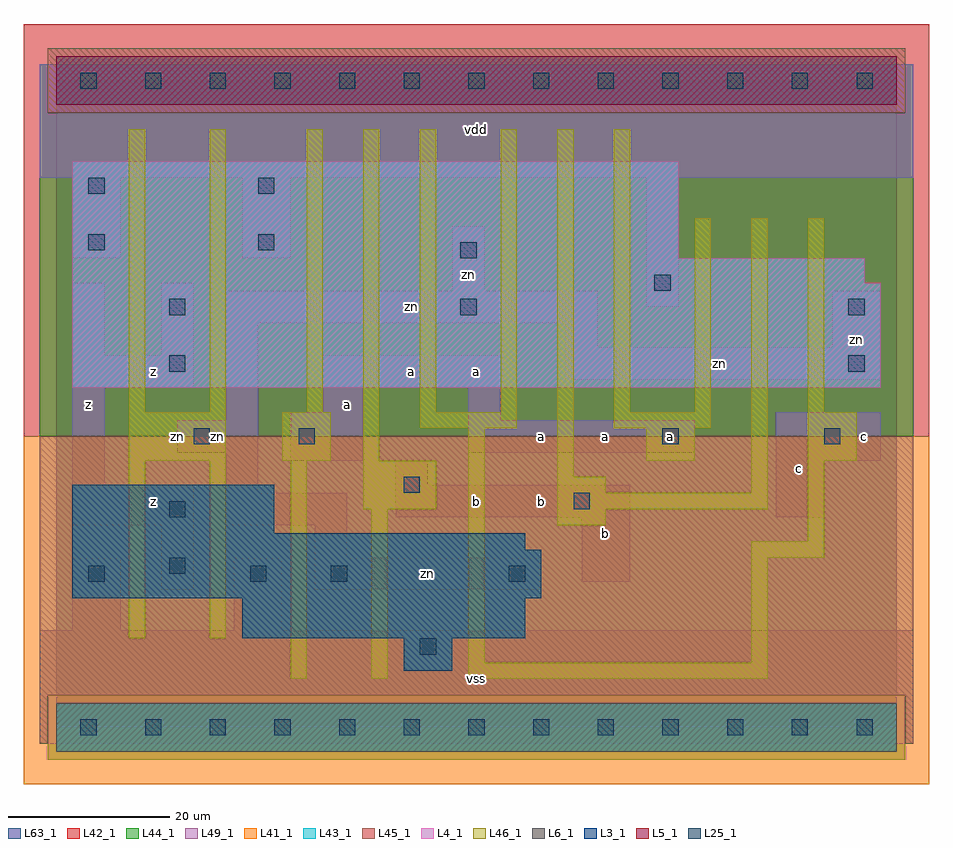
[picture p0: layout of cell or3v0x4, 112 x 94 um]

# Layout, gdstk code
import gdstk
lib = gdstk.Library(unit=1e-6, precision=1e-09)
def R(c, l, rs):  # rectangles x0, y0, x1, y1
    for r in rs: c.add(gdstk.rectangle(r[:2], r[2:], *l))
def A(c, l, x, y, w, h, nx, ny, dx, dy):  # array of equal rectangles
    R(c, l, [(x+i*dx, y+j*dy, x+i*dx+w, y+j*dy+h) for i in range(nx) for j in range(ny)])
L3_1 = (3, 1)
L4_1 = (4, 1)
L5_1 = (5, 1)
L6_1 = (6, 1)
L25_1 = (25, 1)
L41_1 = (41, 1)
L42_1 = (42, 1)
L43_1 = (43, 1)
L44_1 = (44, 1)
L45_1 = (45, 1)
L46_1 = (46, 1)
L49_1 = (49, 1)
L63_1 = (63, 1)

or3v0x4 = lib.new_cell('or3v0x4')
R(or3v0x4, L3_1, [(43,7,49,11), (23,11,58,16), (2,16,60,22), (2,22,58,24), (2,24,27,30)])
R(or3v0x4, L4_1, [(2,42,102,55), (2,55,100,58), (2,58,77,70)])
R(or3v0x4, L5_1, [(0,77,104,83)])
R(or3v0x4, L6_1, [(0,-3,104,3), (0,-3,104,3)])
A(or3v0x4, L25_1, 3, -1, 2, 2, 13, 2, 8, 80)
R(or3v0x4, L25_1, [(45,9,47,11), (4,18,6,20), (24,18,26,20), (34,18,36,20), (56,18,58,20), (14,19,16,21), (14,26,16,28), (64,27,66,29), (43,29,45,31), (17,35,19,37), (30,35,32,37), (75,35,77,37), (95,35,97,37), (14,44,16,46), (98,44,100,46), (14,51,16,53), (50,51,52,53), (98,51,100,53), (74,54,76,56), (50,58,52,60), (4,59,6,61), (25,59,27,61), (4,66,6,68), (25,66,27,68)])
R(or3v0x4, L41_1, [(-4,-7,108,36)])
R(or3v0x4, L42_1, [(-4,36,108,87)])
R(or3v0x4, L43_1, [(0,-3,104,3), (43,7,49,11), (23,11,58,16), (2,16,60,22), (2,22,58,24), (2,24,27,30), (2,42,102,55), (2,55,100,58), (2,58,77,70), (0,77,104,83)])
R(or3v0x4, L44_1, [(-1,-4,105,4), (-2,36,106,76), (-2,76,-1,82), (105,76,106,82)])
R(or3v0x4, L45_1, [(-2,-2,-1,4), (105,-2,106,4), (-2,4,106,36), (-1,76,105,84)])
R(or3v0x4, L46_1, [(29,6,31,33), (39,6,41,27), (51,6,88,8), (51,8,53,37), (86,8,88,21), (9,11,11,33), (19,11,21,33), (86,21,95,23), (93,23,95,33), (62,25,68,27), (38,27,47,33), (62,27,88,29), (62,29,68,31), (86,29,88,63), (62,31,64,74), (9,33,21,39), (28,33,34,39), (38,33,40,74), (73,33,79,37), (93,33,99,39), (45,37,57,39), (69,37,81,39), (9,39,11,74), (19,39,21,74), (31,39,33,74), (45,39,47,74), (55,39,57,74), (69,39,71,74), (79,39,81,63), (93,39,95,63)])
R(or3v0x4, L49_1, [(-2,-2,106,12), (2,12,8,21), (22,12,28,21), (13,17,17,25), (32,17,60,21), (65,18,71,26), (32,21,36,25), (2,25,17,30), (21,25,36,29), (42,26,71,30), (89,26,95,33), (21,29,25,34), (2,30,6,42), (42,30,46,33), (29,33,38,39), (89,33,102,39), (15,34,25,38), (51,34,79,38), (21,38,25,50), (51,38,55,42), (33,39,38,42), (2,42,17,46), (33,42,55,46), (63,43,102,47), (2,46,6,55), (13,46,17,55), (63,47,67,50), (96,47,102,54), (21,50,67,54), (73,52,77,68), (49,54,53,62), (2,58,8,68), (23,58,29,68), (-2,68,106,82)])
R(or3v0x4, L63_1, [(0,0,104,80)])
or3v0x4.add(gdstk.Label('zn', (15,36), layer=46, texttype=1))
or3v0x4.add(gdstk.Label('z', (12,28), layer=49, texttype=1))
or3v0x4.add(gdstk.Label('z', (4,40), layer=49, texttype=1))
or3v0x4.add(gdstk.Label('z', (12,44), layer=49, texttype=1))
or3v0x4.add(gdstk.Label('zn', (20,36), layer=49, texttype=1))
or3v0x4.add(gdstk.Label('a', (36,40), layer=49, texttype=1))
or3v0x4.add(gdstk.Label('vss', (52,6), layer=49, texttype=1))
or3v0x4.add(gdstk.Label('zn', (46,19), layer=49, texttype=1))
or3v0x4.add(gdstk.Label('b', (52,28), layer=49, texttype=1))
or3v0x4.add(gdstk.Label('b', (60,28), layer=49, texttype=1))
or3v0x4.add(gdstk.Label('a', (44,44), layer=49, texttype=1))
or3v0x4.add(gdstk.Label('a', (52,44), layer=49, texttype=1))
or3v0x4.add(gdstk.Label('a', (60,36), layer=49, texttype=1))
or3v0x4.add(gdstk.Label('zn', (51,56), layer=49, texttype=1))
or3v0x4.add(gdstk.Label('vdd', (52,74), layer=49, texttype=1))
or3v0x4.add(gdstk.Label('b', (68,24), layer=49, texttype=1))
or3v0x4.add(gdstk.Label('a', (68,36), layer=49, texttype=1))
or3v0x4.add(gdstk.Label('a', (76,36), layer=49, texttype=1))
or3v0x4.add(gdstk.Label('zn', (44,52), layer=49, texttype=1))
or3v0x4.add(gdstk.Label('c', (92,32), layer=49, texttype=1))
or3v0x4.add(gdstk.Label('zn', (82,45), layer=49, texttype=1))
or3v0x4.add(gdstk.Label('c', (100,36), layer=49, texttype=1))
or3v0x4.add(gdstk.Label('zn', (99,48), layer=49, texttype=1))

lib.write_gds('or3v0x4.gds')
